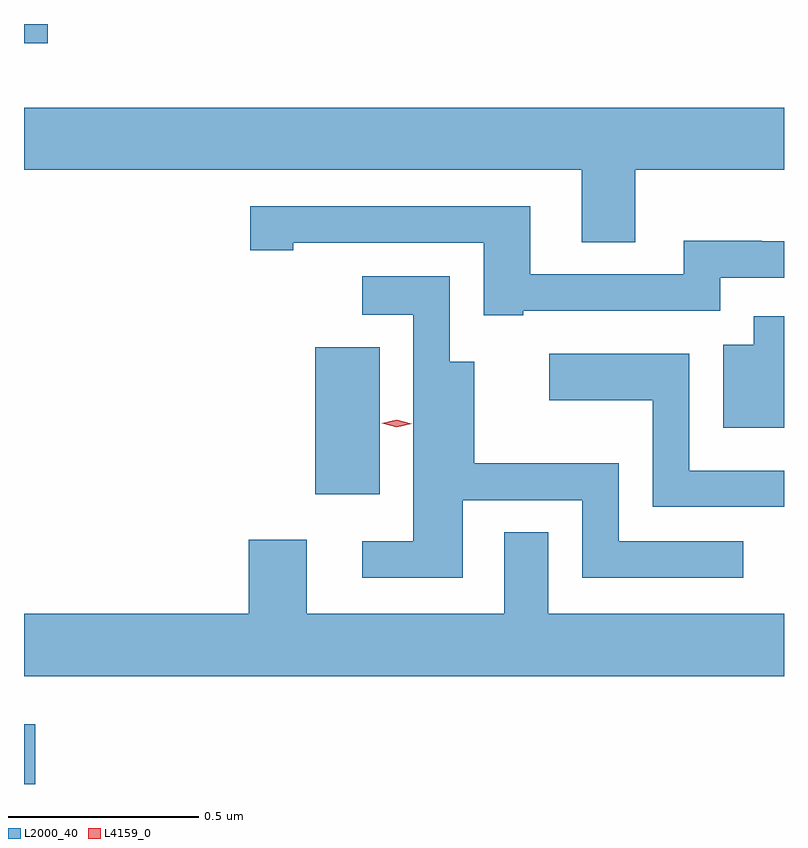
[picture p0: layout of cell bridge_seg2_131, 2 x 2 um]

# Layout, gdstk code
import gdstk
lib = gdstk.Library(unit=1e-6, precision=1e-09)
def R(c, l, rs):  # rectangles x0, y0, x1, y1
    for r in rs: c.add(gdstk.rectangle(r[:2], r[2:], *l))
def P(c, l, *ps):  # polygons
    for p in ps: c.add(gdstk.Polygon(p, *l))
L2000_40 = (2000, 40)
L4159_0 = (4159, 0)

bridge_seg2_131 = lib.new_cell('bridge_seg2_131')
R(bridge_seg2_131, L2000_40, [(471.799,599.4,471.829,599.557), (472.565,600.162,472.735,600.55), (471.799,601.35,471.862,601.4)])
P(bridge_seg2_131, L2000_40, [(473.407,601.016),(473.799,601.016),(473.799,601.18),(471.799,601.18),(471.799,601.016),(473.267,601.016),(473.267,600.826),(473.407,600.826)],
  [(473.113,600.645),(473.631,600.645),(473.631,600.732),(473.799,600.732),(473.799,600.828),(473.741,600.828),(473.741,600.83),(473.535,600.83),(473.535,600.741),(473.131,600.741),(473.131,600.921),(472.395,600.921),(472.395,600.805),(472.507,600.805),(472.507,600.825),(473.009,600.825),(473.009,600.633),(473.113,600.633)],
  [(472.954,600.147),(473.268,600.147),(473.268,599.943),(473.692,599.943),(473.692,600.039),(473.364,600.039),(473.364,600.244),(472.984,600.244),(472.984,600.511),(472.92,600.511),(472.92,600.736),(472.689,600.736),(472.689,600.635),(472.823,600.635),(472.823,600.039),(472.689,600.039),(472.689,599.943),(472.954,599.943)],
  [(473.799,600.631),(473.72,600.631),(473.72,600.556),(473.639,600.556),(473.639,600.338),(473.799,600.338)],
  [(473.799,600.225),(473.55,600.225),(473.55,600.532),(473.181,600.532),(473.181,600.41),(473.454,600.41),(473.454,600.129),(473.799,600.129)],
  [(473.799,599.848),(473.179,599.848),(473.179,600.062),(473.063,600.062),(473.063,599.848),(472.543,599.848),(472.543,600.043),(472.391,600.043),(472.391,599.848),(471.799,599.848),(471.799,599.684),(473.799,599.684)])
P(bridge_seg2_131, L4159_0, [(472.78,600.339),(472.74,600.349),(472.74,600.349),(472.74,600.35),(472.78,600.359),(472.819,600.348),(472.819,600.348),(472.819,600.348)])

lib.write_gds('bridge_seg2_131.gds')
